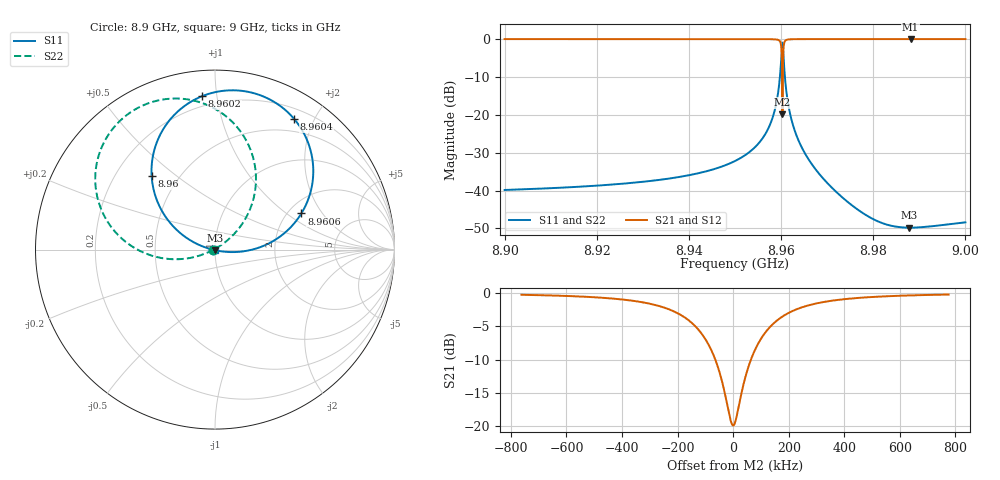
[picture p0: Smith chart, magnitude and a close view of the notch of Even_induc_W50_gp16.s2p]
! Sonnet Data File
! From: emgraph Version : 16.52
! From Project: Resonator2_cp
! Data is De-embedded
! Data File Written: 10/09/2017 00:47:19
!< HDATE 10/08/2017 10:09:33
!< MDATE 10/08/2017 10:09:33
!< PARAMS
!< Length = 400.0
!< Pwid1 = 2000.0
!< Pwid2 = 2000.0
!< Air_gap = 30.0
!< Width = 50.0
!< gap = 16.0
!< END PARAMS
# GHZ S MA R 51.00000
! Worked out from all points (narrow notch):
!   1595 points, 8.9 GHz to 9 GHz, reference 51 ohm
!   highest |S21| = 0.00 dB at 8.9881 GHz (marker M1); lowest = -19.9 dB at 8.9603 GHz (marker M2)
!   notch at M2: 19.9 dB deep, 130 kHz wide at half that depth
!   lowest |S11| = -49.8 dB at 8.9877 GHz (marker M3), VSWR 1.01, Z = 50.9 - j0.324 ohm
!   |S11| at or under -10 dB: start of sweep to 8.9597 GHz; 8.960828 GHz to end of sweep
!   |S22| runs from -49.7 to -0.9 dB; largest |S21 - S12| = 0
!   S11 on the Smith chart (normalised r, x): 8.9 GHz: 0.98, -0.00; 8.96 GHz: 0.35, +0.41; 8.9602 GHz: 0.14, +0.91; 8.9604 GHz: 0.33, +1.73; 8.9606 GHz: 2.35, +1.30; 9 GHz: 0.99, -0.01
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8.9  0.01019 -174.1  0.9999 -81.8  0.9999 -81.8  0.01019 -169.5
!< P1 F=8.9 Eeff=(6.44048165 -2.9687e-5) Z0=(50.4067405 1.16285e-4) R=0.0 C=0.0
!< P2 F=8.9 Eeff=(6.44048165 -2.9687e-5) Z0=(50.4067405 1.16285e-4) R=0.0 C=0.0
8.9167  0.01129 -176.1  0.9999 -82.0  0.9999 -82.0  0.01129 -167.9
8.9334  0.0138 -179.6  0.9999 -82.3  0.9999 -82.3  0.01381 -165.1
8.95  0.02458 173.6  0.9997 -83.1  0.9997 -83.1  0.02459 -159.9
8.9574  0.06959 165.7  0.9971 -85.7  0.9971 -85.7  0.06963 -158.0
8.959399  0.2046 155.2  0.9743 -93.6  0.9743 -93.6  0.2048 -164.9
8.9598  0.3453 145.4  0.9245 -102.0  0.9245 -102.0  0.3455 -174.0
8.960024  0.54 130.8  0.8022 -114.4  0.8022 -114.4  0.5404 171.9
8.960154  0.7349 112.8  0.5821 -128.5  0.5821 -128.5  0.7354 154.1
8.960234  0.8575 94.9  0.3142 -136.5  0.3142 -136.5  0.8581 136.4
8.960298  0.8982 77.4  0.1015 -81.9  0.1015 -81.9  0.8989 119.0
8.960366  0.8514 58.8  0.3317 -27.2  0.3317 -27.2  0.852 100.6
8.960448  0.7209 40.7  0.6009 -36.2  0.6009 -36.2  0.7215 82.7
8.96058  0.5219 22.7  0.8152 -50.4  0.8152 -50.4  0.5223 64.9
8.961111  0.212 0.3  0.9717 -69.5  0.9717 -69.5  0.2122 43.6
8.96243  0.0789 -9.8  0.996 -77.3  0.996 -77.3  0.07897 36.5
8.966671  0.02231 -19.5  0.9997 -80.6  0.9997 -80.6  0.02234 38.8
8.975347  0.006416 -42.6  1 -81.6  1 -81.6  0.006437 59.7
8.9834  0.003494 -80.7  1 -81.9  1 -81.9  0.003512 97.0
8.9877  0.003242 -101.6  1 -82.0  1 -82.0  0.003256 117.5
8.9881  0.003242 -103.3  1 -82.0  1 -82.0  0.003256 119.2
9  0.00381 -134.7  1 -82.3  1 -82.3  0.003817 150.1
